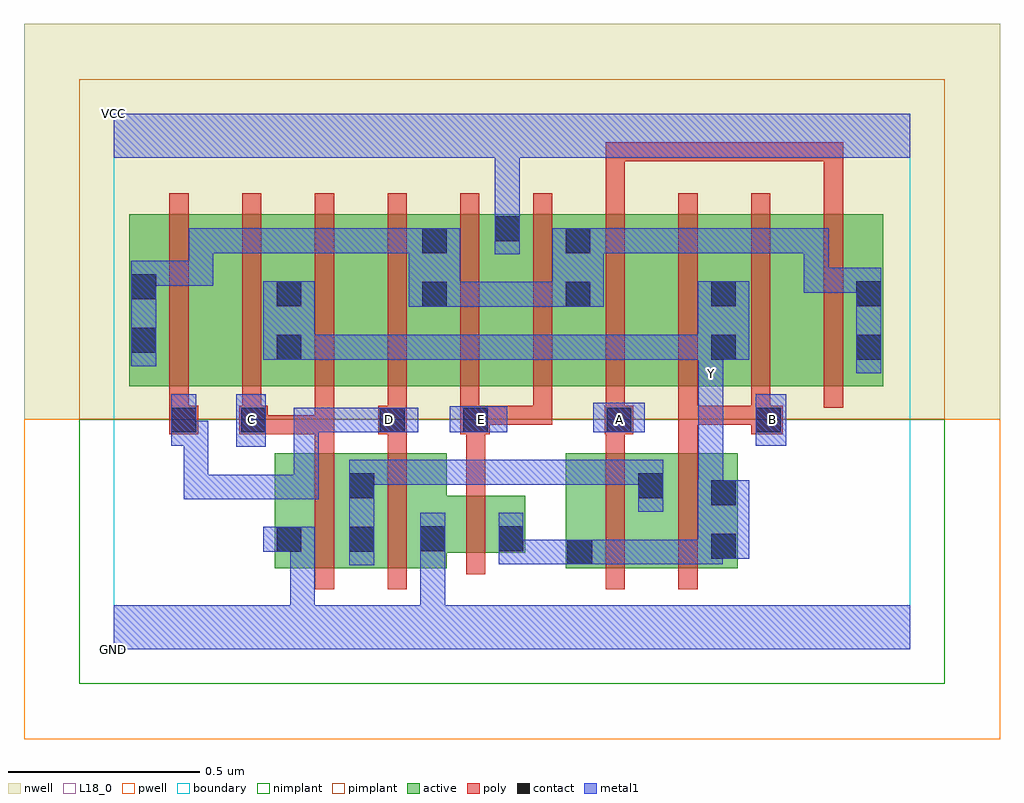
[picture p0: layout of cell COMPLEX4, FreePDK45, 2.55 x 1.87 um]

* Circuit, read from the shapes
.subckt COMPLEX4 A B C D E GND VCC Y
M1 n1 C GND VSUBS nfet w=0.3u l=0.05u
M2 GND D n1 VSUBS nfet w=0.3u l=0.05u
M3 Y E GND VSUBS nfet w=0.15u l=0.05u
M4 n1 A Y VSUBS nfet w=0.3u l=0.05u
M5 Y B n1 VSUBS nfet w=0.3u l=0.05u
M6 n2 D n3 n4 pfet w=0.45u l=0.05u
M7 Y C n2 n4 pfet w=0.45u l=0.05u
M8 n5 C Y n4 pfet w=0.45u l=0.05u
M9 n3 D n5 n4 pfet w=0.45u l=0.05u
M10 VCC E n3 n4 pfet w=0.45u l=0.05u m=2
M11 n6 A n3 n4 pfet w=0.45u l=0.05u
M12 Y B n6 n4 pfet w=0.45u l=0.05u
M13 n7 B Y n4 pfet w=0.45u l=0.05u
M14 n3 A n7 n4 pfet w=0.45u l=0.05u
.ends

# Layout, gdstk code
import gdstk
lib = gdstk.Library(unit=1e-6, precision=1e-09)
def R(c, l, rs):  # rectangles x0, y0, x1, y1
    for r in rs: c.add(gdstk.rectangle(r[:2], r[2:], *l))
def A(c, l, x, y, w, h, nx, ny, dx, dy):  # array of equal rectangles
    R(c, l, [(x+i*dx, y+j*dy, x+i*dx+w, y+j*dy+h) for i in range(nx) for j in range(ny)])
active = (1, 0)
pwell = (2, 0)
nwell = (3, 0)
nimplant = (4, 0)
pimplant = (5, 0)
poly = (9, 0)
contact = (10, 0)
metal1 = (11, 0)
L18_0 = (18, 0)
boundary = (235, 0)

complex4 = lib.new_cell('COMPLEX4')
R(complex4, active, [(0.42,0.212,0.685,0.512), (0.42,0.212,0.495,0.512), (0.61,0.212,0.87,0.512), (0.795,0.212,0.87,0.402), (1.18,0.212,1.44,0.512), (1.18,0.212,1.255,0.512), (1.365,0.212,1.63,0.512), (1.555,0.232,1.63,0.512), (0.61,0.247,0.685,0.465), (1.365,0.247,1.44,0.465), (0.795,0.252,1.075,0.402), (1,0.252,1.075,0.402), (0.04,0.687,0.115,1.107), (0.04,0.687,0.265,1.137), (0.265,0.687,0.495,1.137), (0.42,0.687,0.645,1.137), (0.42,0.687,0.495,1.07), (0.645,0.687,0.875,1.137), (0.8,0.687,1.065,1.137), (0.99,0.687,1.25,1.137), (1.175,0.687,1.405,1.137), (1.405,0.687,1.63,1.137), (1.555,0.687,1.785,1.137), (1.785,0.687,2.01,1.137), (1.935,0.687,2.01,1.107), (1.555,0.732,1.63,1.07), (0.8,0.742,0.875,1.107), (1.175,0.742,1.25,1.107), (0.99,0.857,1.065,1.137)])
R(complex4, pwell, [(-0.235,-0.235,2.315,0.602)])
R(complex4, nwell, [(-0.235,0.602,2.315,1.635)])
R(complex4, nimplant, [(-0.09,-0.09,2.17,0.602)])
R(complex4, pimplant, [(-0.09,0.602,2.17,1.49)])
A(complex4, poly, 0.715, 0.587, 0.05, 0.095, 6, 1, 0.19, 0)
A(complex4, poly, 0.145, 0.632, 0.05, 0.56, 10, 1, 0.19, 0)
R(complex4, poly, [(0.525,0.157,0.575,0.567), (0.715,0.157,0.765,0.567), (1.285,0.157,1.335,0.567), (1.475,0.157,1.525,0.567), (0.92,0.197,0.97,0.457), (0.92,0.407,0.97,0.612), (0.525,0.517,0.575,0.612), (0.715,0.517,0.765,0.612), (1.285,0.517,1.335,0.612), (1.475,0.517,1.525,0.637), (0.145,0.562,0.22,0.637), (0.327,0.562,0.402,0.637), (0.352,0.562,0.402,0.612), (0.352,0.562,0.402,0.612), (0.352,0.562,0.575,0.612), (0.525,0.562,0.575,0.612), (0.525,0.562,0.575,0.682), (0.69,0.562,0.765,0.637), (0.905,0.562,0.982,0.637), (1.282,0.562,1.357,0.637), (1.665,0.562,1.747,0.637), (0.145,0.587,0.195,0.682), (0.335,0.587,0.385,0.682), (0.932,0.587,0.982,0.637), (0.932,0.587,0.982,0.637), (0.932,0.587,1.145,0.637), (1.095,0.587,1.145,0.637), (1.475,0.587,1.525,0.637), (1.475,0.587,1.525,0.637), (1.475,0.587,1.525,0.637), (1.475,0.587,1.715,0.637), (1.285,1.142,1.335,1.325), (1.855,1.142,1.905,1.325), (1.285,1.275,1.335,1.325), (1.285,1.275,1.335,1.325), (1.285,1.275,1.335,1.325), (1.285,1.275,1.582,1.325), (1.532,1.275,1.582,1.325), (1.532,1.275,1.582,1.325), (1.532,1.275,1.582,1.325), (1.532,1.275,1.715,1.325), (1.665,1.275,1.715,1.325), (1.665,1.275,1.905,1.325), (1.855,1.275,1.905,1.325), (1.855,1.275,1.905,1.325), (1.855,1.275,1.905,1.325)])
R(complex4, contact, [(1.185,0.222,1.25,0.287), (1.56,0.237,1.625,0.302), (0.425,0.255,0.49,0.32), (0.615,0.255,0.68,0.32), (0.8,0.257,0.865,0.322), (1.005,0.257,1.07,0.322), (1.56,0.377,1.625,0.442), (0.615,0.395,0.68,0.46), (1.37,0.395,1.435,0.46), (0.15,0.567,0.215,0.632), (0.332,0.567,0.397,0.632), (0.695,0.567,0.76,0.632), (0.912,0.567,0.977,0.632), (1.287,0.567,1.352,0.632), (1.677,0.567,1.742,0.632), (0.425,0.757,0.49,0.822), (1.56,0.757,1.625,0.822), (1.94,0.757,2.005,0.822), (0.045,0.775,0.11,0.84), (0.805,0.895,0.87,0.96), (1.18,0.895,1.245,0.96), (0.425,0.897,0.49,0.962), (1.56,0.897,1.625,0.962), (1.94,0.897,2.005,0.962), (0.045,0.915,0.11,0.98), (0.805,1.035,0.87,1.1), (1.18,1.035,1.245,1.1), (0.995,1.067,1.06,1.132)])
R(complex4, metal1, [(0,0,2.08,0.115), (0.46,0.05,0.525,0.32), (0.8,0.05,0.865,0.115), (0.8,0.05,0.865,0.115), (0.8,0.05,0.865,0.287), (0.615,0.22,0.68,0.495), (0.8,0.222,0.865,0.357), (1.005,0.222,1.07,0.287), (1.005,0.222,1.07,0.287), (1.005,0.222,1.07,0.357), (1.005,0.222,1.215,0.287), (1.15,0.222,1.285,0.287), (1.22,0.222,1.285,0.287), (1.22,0.222,1.285,0.287), (1.22,0.222,1.422,0.287), (1.357,0.222,1.422,0.287), (1.357,0.222,1.422,0.287), (1.357,0.222,1.422,0.287), (1.357,0.222,1.59,0.287), (1.525,0.222,1.59,0.287), (1.525,0.222,1.59,0.302), (1.525,0.237,1.66,0.442), (0.39,0.255,0.525,0.32), (0.46,0.255,0.525,0.32), (0.46,0.255,0.525,0.32), (1.37,0.36,1.435,0.495), (1.527,0.377,1.592,0.717), (0.182,0.392,0.247,0.457), (0.182,0.392,0.352,0.457), (0.182,0.392,0.247,0.597), (0.287,0.392,0.352,0.457), (0.287,0.392,0.535,0.457), (0.47,0.392,0.535,0.457), (0.47,0.392,0.535,0.632), (0.615,0.43,0.68,0.495), (0.615,0.43,0.68,0.495), (0.615,0.43,0.905,0.495), (0.84,0.43,0.905,0.495), (0.84,0.43,0.905,0.495), (0.84,0.43,0.905,0.495), (0.84,0.43,1.07,0.495), (1.005,0.43,1.07,0.495), (1.005,0.43,1.07,0.495), (1.005,0.43,1.07,0.495), (1.005,0.43,1.207,0.495), (1.142,0.43,1.207,0.495), (1.142,0.43,1.207,0.495), (1.142,0.43,1.207,0.495), (1.142,0.43,1.435,0.495), (0.32,0.53,0.397,0.667), (0.15,0.532,0.215,0.667), (0.15,0.532,0.247,0.597), (0.182,0.532,0.247,0.597), (1.677,0.532,1.757,0.667), (0.47,0.567,0.535,0.632), (0.47,0.567,0.535,0.632), (0.47,0.567,0.535,0.632), (0.47,0.567,0.697,0.632), (0.632,0.567,0.697,0.632), (0.632,0.567,0.717,0.632), (0.652,0.567,0.795,0.632), (0.877,0.567,1.027,0.635), (1.252,0.567,1.387,0.645), (1.527,0.652,1.592,0.822), (1.94,0.722,2.005,0.997), (0.045,0.74,0.11,1.015), (0.39,0.757,0.525,0.962), (0.46,0.757,0.535,0.822), (0.47,0.757,0.535,0.822), (0.47,0.757,0.697,0.822), (0.632,0.757,0.697,0.822), (0.632,0.757,0.697,0.822), (0.632,0.757,0.697,0.822), (0.632,0.757,0.835,0.822), (0.77,0.757,0.835,0.822), (0.77,0.757,0.835,0.822), (0.77,0.757,0.835,0.822), (0.77,0.757,1.07,0.822), (1.005,0.757,1.07,0.822), (1.005,0.757,1.07,0.822), (1.005,0.757,1.07,0.822), (1.005,0.757,1.207,0.822), (1.142,0.757,1.207,0.822), (1.142,0.757,1.207,0.822), (1.142,0.757,1.207,0.822), (1.142,0.757,1.422,0.822), (1.357,0.757,1.422,0.822), (1.357,0.757,1.59,0.822), (1.525,0.757,1.59,0.822), (1.525,0.757,1.59,0.822), (1.525,0.757,1.66,0.962), (1.527,0.757,1.592,0.822), (0.77,0.895,0.905,1.1), (0.84,0.895,0.905,0.96), (0.84,0.895,0.905,0.96), (0.84,0.895,1.042,0.96), (0.977,0.895,1.042,0.96), (0.977,0.895,1.042,0.96), (0.977,0.895,1.042,0.96), (0.977,0.895,1.21,0.96), (1.145,0.895,1.28,1.1), (1.802,0.932,1.867,0.997), (1.802,0.932,2.005,0.997), (1.802,0.932,1.867,1.1), (1.94,0.932,2.005,0.997), (1.94,0.932,2.005,0.997), (0.045,0.95,0.11,1.015), (0.045,0.95,0.11,1.015), (0.045,0.95,0.26,1.015), (0.195,0.95,0.26,1.015), (0.195,0.95,0.26,1.1), (0.995,1.032,1.06,1.167), (0.195,1.035,0.26,1.1), (0.195,1.035,0.397,1.1), (0.332,1.035,0.397,1.1), (0.332,1.035,0.397,1.1), (0.332,1.035,0.397,1.1), (0.332,1.035,0.542,1.1), (0.477,1.035,0.542,1.1), (0.477,1.035,0.697,1.1), (0.632,1.035,0.697,1.1), (0.632,1.035,0.697,1.1), (0.632,1.035,0.697,1.1), (0.632,1.035,0.835,1.1), (1.215,1.035,1.28,1.1), (1.215,1.035,1.28,1.1), (1.215,1.035,1.422,1.1), (1.357,1.035,1.422,1.1), (1.357,1.035,1.422,1.1), (1.357,1.035,1.422,1.1), (1.357,1.035,1.727,1.1), (1.662,1.035,1.727,1.1), (1.662,1.035,1.727,1.1), (1.662,1.035,1.727,1.1), (1.662,1.035,1.867,1.1), (1.802,1.035,1.867,1.1), (0.995,1.102,1.06,1.35), (0,1.285,2.08,1.4), (0.995,1.285,1.06,1.35), (0.995,1.285,1.06,1.35)])
R(complex4, L18_0, [(0,0,2.08,0.115), (0.46,0.05,0.525,0.32), (0.8,0.05,0.865,0.115), (0.8,0.05,0.865,0.115), (0.8,0.05,0.865,0.287), (0.8,0.222,0.865,0.357), (1.005,0.222,1.07,0.357), (1.005,0.222,1.07,0.287), (1.005,0.222,1.07,0.287), (1.005,0.222,1.215,0.287), (1.15,0.222,1.285,0.287), (1.22,0.222,1.285,0.287), (1.22,0.222,1.285,0.287), (1.22,0.222,1.422,0.287), (1.357,0.222,1.422,0.287), (1.357,0.222,1.422,0.287), (1.357,0.222,1.422,0.287), (1.357,0.222,1.59,0.287), (1.525,0.222,1.59,0.287), (1.525,0.222,1.59,0.302), (1.525,0.237,1.66,0.442), (0.39,0.255,0.525,0.32), (0.46,0.255,0.525,0.32), (0.46,0.255,0.525,0.32), (1.527,0.377,1.592,0.717), (0.182,0.392,0.247,0.457), (0.182,0.392,0.247,0.597), (0.182,0.392,0.352,0.457), (0.287,0.392,0.352,0.457), (0.287,0.392,0.535,0.457), (0.47,0.392,0.535,0.457), (0.47,0.392,0.535,0.632), (0.32,0.53,0.397,0.667), (0.15,0.532,0.215,0.667), (0.15,0.532,0.247,0.597), (0.182,0.532,0.247,0.597), (1.677,0.532,1.757,0.667), (0.327,0.567,0.392,0.632), (0.47,0.567,0.535,0.632), (0.47,0.567,0.535,0.632), (0.47,0.567,0.535,0.632), (0.47,0.567,0.697,0.632), (0.632,0.567,0.697,0.632), (0.632,0.567,0.717,0.632), (0.652,0.567,0.795,0.632), (0.687,0.567,0.752,0.632), (0.877,0.567,1.027,0.635), (0.927,0.567,0.992,0.632), (1.252,0.567,1.387,0.645), (1.287,0.567,1.352,0.632), (1.687,0.567,1.752,0.632), (1.527,0.652,1.592,0.822), (1.527,0.687,1.592,0.752), (0.39,0.757,0.525,0.962), (0.46,0.757,0.535,0.822), (0.47,0.757,0.535,0.822), (0.47,0.757,0.697,0.822), (0.632,0.757,0.697,0.822), (0.632,0.757,0.697,0.822), (0.632,0.757,0.697,0.822), (0.632,0.757,0.835,0.822), (0.77,0.757,0.835,0.822), (0.77,0.757,0.835,0.822), (0.77,0.757,0.835,0.822), (0.77,0.757,1.07,0.822), (1.005,0.757,1.07,0.822), (1.005,0.757,1.07,0.822), (1.005,0.757,1.07,0.822), (1.005,0.757,1.207,0.822), (1.142,0.757,1.207,0.822), (1.142,0.757,1.207,0.822), (1.142,0.757,1.207,0.822), (1.142,0.757,1.422,0.822), (1.357,0.757,1.422,0.822), (1.357,0.757,1.59,0.822), (1.525,0.757,1.59,0.822), (1.525,0.757,1.59,0.822), (1.525,0.757,1.66,0.962), (1.527,0.757,1.592,0.822), (0.995,1.032,1.06,1.167), (0.995,1.102,1.06,1.35), (0,1.285,2.08,1.4), (0.995,1.285,1.06,1.35), (0.995,1.285,1.06,1.35)])
R(complex4, boundary, [(0,0,2.08,1.4)])
complex4.add(gdstk.Label('A', (1.32,0.6), layer=11, texttype=0))
complex4.add(gdstk.Label('B', (1.72,0.6), layer=11, texttype=0))
complex4.add(gdstk.Label('C', (0.36,0.6), layer=11, texttype=0))
complex4.add(gdstk.Label('D', (0.72,0.6), layer=11, texttype=0))
complex4.add(gdstk.Label('E', (0.96,0.6), layer=11, texttype=0))
complex4.add(gdstk.Label('Y', (1.56,0.72), layer=11, texttype=0))
complex4.add(gdstk.Label('VCC', (0,1.4), layer=11, texttype=0))
complex4.add(gdstk.Label('GND', (0,0), layer=11, texttype=0))

lib.write_gds('COMPLEX4.gds')
